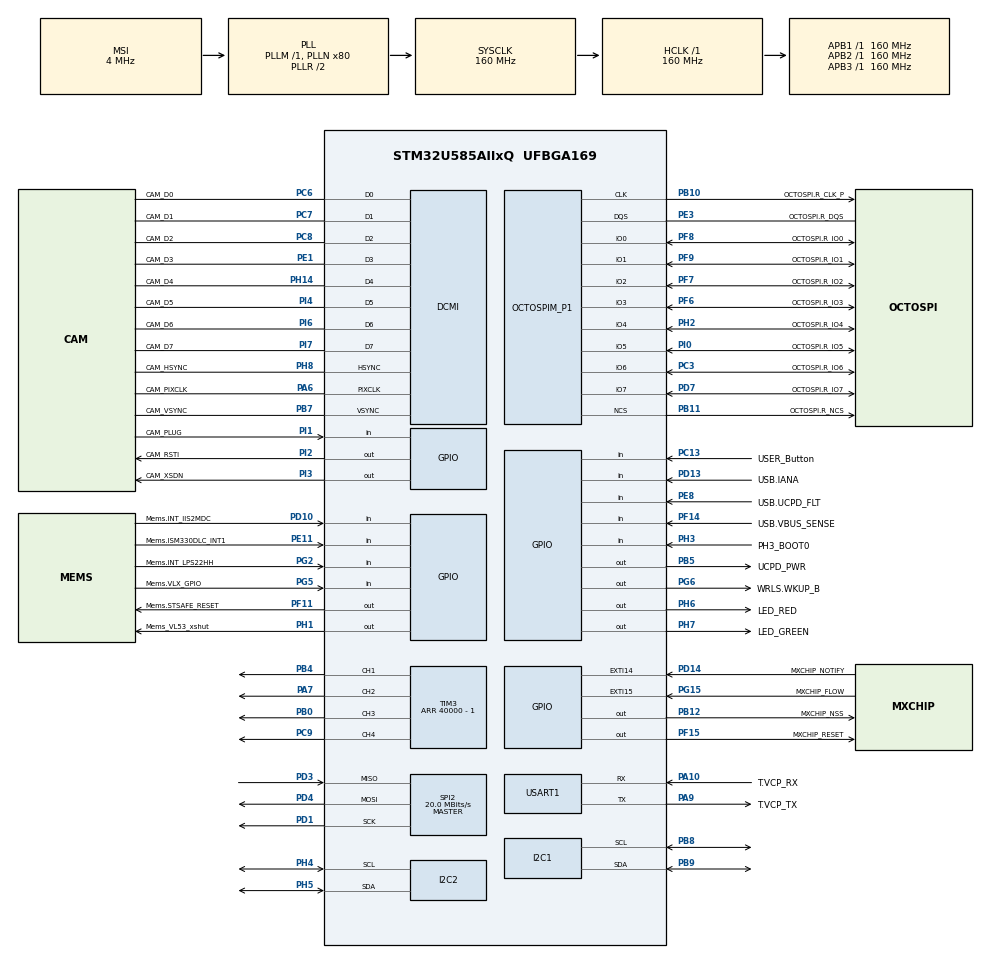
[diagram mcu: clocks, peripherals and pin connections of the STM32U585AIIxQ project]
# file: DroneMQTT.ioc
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CORTEX_M33_NS.userName=CORTEX_M33
DCMI.CaptureRate=DCMI_CR_ALL_FRAME
DCMI.HSPolarity=DCMI_HSPOLARITY_HIGH
DCMI.JPEGMode=DCMI_JPEG_DISABLE
DCMI.PCKPolarity=DCMI_PCKPOLARITY_RISING
DCMI.VSPolarity=DCMI_VSPOLARITY_HIGH
GPDMA1.ChannelPRIV_GPDMACH12=DMA_CHANNEL_PRIV
GPDMA1.ChannelPRIV_GPDMACH6=DMA_CHANNEL_PRIV
GPDMA1.ChannelPRIV_GPDMACH7=DMA_CHANNEL_PRIV
GPDMA1.LINKALLOCATEDPORT_GPDMACH12=DMA_LINK_ALLOCATED_PORT1
GPDMA1.LINKALLOCATEDPORT_GPDMACH6=DMA_LINK_ALLOCATED_PORT1
GPDMA1.LINKALLOCATEDPORT_GPDMACH7=DMA_LINK_ALLOCATED_PORT1
GPDMA1.LINKEDLISTMODE_GPDMACH12=DMA_LINKEDLIST_CIRCULAR
GPDMA1.PRIORITY_LL_GPDMACH6=DMA_LOW_PRIORITY_HIGH_WEIGHT
GPDMA1.PRIORITY_LL_GPDMACH7=DMA_LOW_PRIORITY_HIGH_WEIGHT
I2C1.Timing=0x30909DEC
I2C2.Timing=0x30909DEC
Linkedlist.MDMA_Channel0.GP_SW.0.ADDRESSING2D=DISABLE
Linkedlist.MDMA_Channel0.GP_SW.0.BlkHWRequest=DMA_BREQ_SINGLE_BURST
Linkedlist.MDMA_Channel0.GP_SW.0.DataHandling=NONE
Linkedlist.MDMA_Channel0.GP_SW.0.DataSize=0
Linkedlist.MDMA_Channel0.GP_SW.0.DestBurstLength=1
Linkedlist.MDMA_Channel0.GP_SW.0.DestDataWidth=DMA_DEST_DATAWIDTH_WORD
Linkedlist.MDMA_Channel0.GP_SW.0.DestInc=DMA_DINC_INCREMENTED
Linkedlist.MDMA_Channel0.GP_SW.0.Direction=DMA_PERIPH_TO_MEMORY
Linkedlist.MDMA_Channel0.GP_SW.0.DstAddress=0
Linkedlist.MDMA_Channel0.GP_SW.0.Instance=MDMA_Channel0
Linkedlist.MDMA_Channel0.GP_SW.0.LL_CIRCULARNODE=DCMItoMemory
Linkedlist.MDMA_Channel0.GP_SW.0.LL_MASTERDMA=GPDMA2D
Linkedlist.MDMA_Channel0.GP_SW.0.LL_NAME=ProjectDMAQueue
Linkedlist.MDMA_Channel0.GP_SW.0.LL_TYPE=CIRCULAR
Linkedlist.MDMA_Channel0.GP_SW.0.NODE_NAME=DCMItoMemory
Linkedlist.MDMA_Channel0.GP_SW.0.Requestforcodegen=GPDMA1_REQUEST_DCMI
Linkedlist.MDMA_Channel0.GP_SW.0.SrcAddress=0
Linkedlist.MDMA_Channel0.GP_SW.0.SrcBurstLength=1
Linkedlist.MDMA_Channel0.GP_SW.0.SrcDataWidth=DMA_SRC_DATAWIDTH_WORD
Linkedlist.MDMA_Channel0.GP_SW.0.SrcInc=DMA_SINC_FIXED
Linkedlist.MDMA_Channel0.GP_SW.0.TransferAllocatedPortSrc=DMA_SRC_ALLOCATED_PORT0
Linkedlist.MDMA_Channel0.GP_SW.0.TransferEventMode=DMA_TCEM_BLOCK_TRANSFER
Linkedlist.MDMA_Channel0.GP_SW.0.TriggerPolarity=DMA_TRIG_POLARITY_MASKED
Linkedlist.MDMA_Channel0.Request0=GP_SW
Linkedlist.MDMA_Channel0.RequestsNb=1
Linkedlist.MDMA_Channel1.GP_SW.0.BlkHWRequest=DMA_BREQ_SINGLE_BURST
Linkedlist.MDMA_Channel1.GP_SW.0.DataAlignment=DMA_DATA_RIGHTALIGN_ZEROPADDED
Linkedlist.MDMA_Channel1.GP_SW.0.DataExchange=DMA_EXCHANGE_NONE
Linkedlist.MDMA_Channel1.GP_SW.0.DataHandling=ENABLE
Linkedlist.MDMA_Channel1.GP_SW.0.DataSize=0
Linkedlist.MDMA_Channel1.GP_SW.0.DestBurstLength=1
Linkedlist.MDMA_Channel1.GP_SW.0.DestDataWidth=DMA_DEST_DATAWIDTH_BYTE
Linkedlist.MDMA_Channel1.GP_SW.0.DestInc=DMA_DINC_INCREMENTED
Linkedlist.MDMA_Channel1.GP_SW.0.Direction=DMA_PERIPH_TO_MEMORY
Linkedlist.MDMA_Channel1.GP_SW.0.DstAddress=0
Linkedlist.MDMA_Channel1.GP_SW.0.Instance=MDMA_Channel1
Linkedlist.MDMA_Channel1.GP_SW.0.LL_MASTERDMA=GPDMA
Linkedlist.MDMA_Channel1.GP_SW.0.LL_NAME=SPI_Rx_Queue
Linkedlist.MDMA_Channel1.GP_SW.0.LL_TYPE=LINEAR
Linkedlist.MDMA_Channel1.GP_SW.0.NODE_NAME=SPI_Rx_Node
Linkedlist.MDMA_Channel1.GP_SW.0.Requestforcodegen=GPDMA1_REQUEST_SPI2_RX
Linkedlist.MDMA_Channel1.GP_SW.0.SrcAddress=0
Linkedlist.MDMA_Channel1.GP_SW.0.SrcBurstLength=1
Linkedlist.MDMA_Channel1.GP_SW.0.SrcDataWidth=DMA_SRC_DATAWIDTH_BYTE
Linkedlist.MDMA_Channel1.GP_SW.0.SrcInc=DMA_SINC_FIXED
Linkedlist.MDMA_Channel1.GP_SW.0.TransferAllocatedPortSrc=DMA_SRC_ALLOCATED_PORT0
Linkedlist.MDMA_Channel1.GP_SW.0.TransferEventMode=DMA_TCEM_BLOCK_TRANSFER
Linkedlist.MDMA_Channel1.GP_SW.0.TriggerPolarity=DMA_TRIG_POLARITY_MASKED
Linkedlist.MDMA_Channel1.Request0=GP_SW
Linkedlist.MDMA_Channel1.RequestsNb=1
Linkedlist.MDMA_Channel2.GP_SW.0.BlkHWRequest=DMA_BREQ_SINGLE_BURST
Linkedlist.MDMA_Channel2.GP_SW.0.DataAlignment=DMA_DATA_RIGHTALIGN_ZEROPADDED
Linkedlist.MDMA_Channel2.GP_SW.0.DataExchange=DMA_EXCHANGE_NONE
Linkedlist.MDMA_Channel2.GP_SW.0.DataHandling=ENABLE
Linkedlist.MDMA_Channel2.GP_SW.0.DataSize=0
Linkedlist.MDMA_Channel2.GP_SW.0.DestBurstLength=1
Linkedlist.MDMA_Channel2.GP_SW.0.DestDataWidth=DMA_DEST_DATAWIDTH_BYTE
Linkedlist.MDMA_Channel2.GP_SW.0.DestInc=DMA_DINC_FIXED
Linkedlist.MDMA_Channel2.GP_SW.0.Direction=DMA_MEMORY_TO_PERIPH
Linkedlist.MDMA_Channel2.GP_SW.0.DstAddress=0
Linkedlist.MDMA_Channel2.GP_SW.0.Instance=MDMA_Channel2
Linkedlist.MDMA_Channel2.GP_SW.0.LL_MASTERDMA=GPDMA
Linkedlist.MDMA_Channel2.GP_SW.0.LL_NAME=SPI_Tx_Queue
Linkedlist.MDMA_Channel2.GP_SW.0.LL_TYPE=LINEAR
Linkedlist.MDMA_Channel2.GP_SW.0.NODE_NAME=SPI_Tx_Node
Linkedlist.MDMA_Channel2.GP_SW.0.Requestforcodegen=GPDMA1_REQUEST_SPI2_TX
Linkedlist.MDMA_Channel2.GP_SW.0.SrcAddress=0
Linkedlist.MDMA_Channel2.GP_SW.0.SrcBurstLength=1
Linkedlist.MDMA_Channel2.GP_SW.0.SrcDataWidth=DMA_SRC_DATAWIDTH_BYTE
Linkedlist.MDMA_Channel2.GP_SW.0.SrcInc=DMA_SINC_INCREMENTED
Linkedlist.MDMA_Channel2.GP_SW.0.TransferAllocatedPortSrc=DMA_SRC_ALLOCATED_PORT1
Linkedlist.MDMA_Channel2.GP_SW.0.TransferEventMode=DMA_TCEM_BLOCK_TRANSFER
Linkedlist.MDMA_Channel2.GP_SW.0.TriggerPolarity=DMA_TRIG_POLARITY_MASKED
Linkedlist.MDMA_Channel2.Request0=GP_SW
Linkedlist.MDMA_Channel2.RequestsNb=1
Linkedlist.RequestSet0=MDMA_Channel0
Linkedlist.RequestSet1=MDMA_Channel1
Linkedlist.RequestSet2=MDMA_Channel2
Linkedlist.RequestSetsNb=3
Mcu.Family=STM32U5
Mcu.Name=STM32U585AIIxQ
Mcu.Package=UFBGA169
Mcu.UserConstants=PRES_THREAD_STACK_SIZE,1024;SNTP_STACK_SIZE,(6 * 1024);CAPFRAME_THREAD_STACK_SIZE,1024;LED_STACK_SIZE,1024;TOTAL_APP_STACK_SIZE,TIMEBASE_STACK_SIZE + LED_STACK_SIZE*2 + TEMP_THREAD_STACK_SIZE + HUM_THREAD_STACK_SIZE + MAG_THREAD_STACK_SIZE + LIGHT_THREAD_STACK_SIZE + PRES_THREAD_STACK_SIZE + MOT_THREAD_STACK_SIZE + CAPFRAME_THREAD_STACK_SIZE + SENDFRAME_THREAD_STACK_SIZE + SNTP_STACK_SIZE + MQTT_STACK_SIZE + QUEUE_STACK_SIZE;TIMEBASE_STACK_SIZE,1024;LIGHT_THREAD_STACK_SIZE,1024;MAG_THREAD_STACK_SIZE,1024;MOT_THREAD_STACK_SIZE,2048;MQTT_STACK_SIZE,(4 * 1024);MQTT_CLIENT_STACK_SIZE,(1024 * 10);HUM_THREAD_STACK_SIZE,1024;MXCHIP_SPI,hspi2;SENDFRAME_THREAD_STACK_SIZE,1024;TEMP_THREAD_STACK_SIZE,1024;QUEUE_STACK_SIZE,1024
NETXDUO.NXD_MQTT_REQUIRE_TLS=true
NETXDUO.NX_APP_MEM_POOL_SIZE=1024*100
NETXDUO.NX_DISABLE_ERROR_CHECKING=false
NETXDUO.NX_DRIVER_DEFERRED_PROCESSING=true
NETXDUO.NX_PHYSICAL_HEADER=44
NETXDUO.NX_PHYSICAL_TRAILER=4
NETXDUO.NX_SECURE_ENABLE=true
NETXDUO.NX_SECURE_ENABLE_ECC_CIPHERSUITE=true
NETXDUO.NX_SNTP_CLIENT_MAX_ROOT_DISPERSION=500000
NETXDUO.NX_SNTP_CLIENT_MIN_SERVER_STRATUM=5
NVIC.DCACHE1_IRQn=true\:6\:0\:true\:false\:true\:false\:true\:true\:true
NVIC.DCMI_PSSI_IRQn=true\:12\:0\:true\:false\:true\:false\:true\:true\:true
NVIC.EXTI14_IRQn=true\:10\:0\:true\:false\:true\:false\:true\:true\:true
NVIC.EXTI15_IRQn=true\:10\:0\:true\:false\:true\:false\:true\:true\:true
NVIC.GPDMA1_Channel12_IRQn=true\:12\:0\:true\:false\:true\:false\:true\:true\:true
NVIC.GPDMA1_Channel6_IRQn=true\:9\:0\:true\:false\:true\:false\:true\:true\:true
NVIC.GPDMA1_Channel7_IRQn=true\:9\:0\:true\:false\:true\:false\:true\:true\:true
NVIC.PriorityGroup=NVIC_PRIORITYGROUP_4
NVIC.SPI2_IRQn=true\:8\:0\:true\:false\:true\:false\:true\:true\:true
NVIC.TIM6_IRQn=true\:7\:0\:true\:false\:true\:false\:false\:true\:true
NVIC.TIM7_IRQn=true\:8\:0\:true\:false\:true\:false\:true\:true\:true
NVIC.TimeBase=TIM6_IRQn
NVIC.TimeBaseIP=TIM6
OCTOSPI1.ChipSelectBoundary=10
OCTOSPI1.ChipSelectHighTime=2
OCTOSPI1.ClockPrescaler=2
OCTOSPI1.DelayBlockBypass=HAL_OSPI_DELAY_BLOCK_USED
OCTOSPI1.DelayHoldQuarterCycle=HAL_OSPI_DHQC_ENABLE
OCTOSPI1.DeviceSize=23
OCTOSPI1.MemoryType=HAL_OSPI_MEMTYPE_APMEMORY
OCTOSPI1.Refresh=320
PA10.GPIO_Label=T.VCP_RX
PA10.Mode=Asynchronous
PA10.Signal=USART1_RX
PA11.GPIO_Label=USB.C_P
PA11.Signal=USB_OTG_FS_DM
PA12.GPIO_Label=USB.C_P
PA12.Signal=USB_OTG_FS_DP
PA13\ (JTMS/SWDIO).GPIO_Label=T.SWDIO
PA13\ (JTMS/SWDIO).Signal=DEBUG_JTMS-SWDIO
PA14\ (JTCK/SWCLK).GPIO_Label=T.SWCLK
PA14\ (JTCK/SWCLK).Signal=DEBUG_JTCK-SWCLK
PA15\ (JTDI).GPIO_Label=USB.UCPD_CC1
PA15\ (JTDI).Signal=UCPD1_CC1
PA6.GPIO_Label=CAM_PIXCLK
PA6.GPIO_Speed=GPIO_SPEED_FREQ_VERY_HIGH
PA6.Mode=Slave_8_bits_External_Synchro
PA6.Signal=DCMI_PIXCLK
PA7.Signal=S_TIM3_CH2
PA9.GPIO_Label=T.VCP_TX
PA9.Mode=Asynchronous
PA9.Signal=USART1_TX
PB0.Signal=S_TIM3_CH3
PB1.GPIO_Label=MIC.SDIN0
PB1.Signal=MDF1_SDI0
PB10.GPIO_Label=OCTOSPI.R_CLK_P
PB10.Mode=O1_P1_CLK
PB10.Signal=OCTOSPIM_P1_CLK
PB11.GPIO_Label=OCTOSPI.R_NCS
PB11.Mode=OCTOSPI1_Port1_NCS
PB11.Signal=OCTOSPIM_P1_NCS
PB12.GPIO_Label=MXCHIP_NSS
PB12.GPIO_Speed=GPIO_SPEED_FREQ_HIGH
PB12.PinState=GPIO_PIN_SET
PB12.Signal=GPIO_Output
PB15.GPIO_Label=USB.UCPD_CC2
PB15.Signal=UCPD1_CC2
PB3\ (JTDO/TRACESWO).GPIO_Label=T.SWO
PB3\ (JTDO/TRACESWO).Signal=DEBUG_JTDO-SWO
PB4\ (NJTRST).Signal=S_TIM3_CH1
PB5.GPIO_Label=UCPD_PWR
PB5.Signal=GPIO_Output
PB7.GPIO_Label=CAM_VSYNC
PB7.GPIO_Speed=GPIO_SPEED_FREQ_VERY_HIGH
PB7.Mode=Slave_8_bits_External_Synchro
PB7.Signal=DCMI_VSYNC
PB8.Mode=I2C
PB8.Signal=I2C1_SCL
PB9.Mode=I2C
PB9.Signal=I2C1_SDA
PC10.GPIO_Label=WRLS.UART4_TX
PC10.Signal=UART4_TX
PC11.GPIO_Label=WRLS.UART4_RX
PC11.Signal=UART4_RX
PC13.GPIO_Label=USER_Button
PC13.Signal=GPIO_Input
PC14-OSC32_IN\ (PC14).GPIO_Label=PC14-OSC32_IN
PC14-OSC32_IN\ (PC14).Signal=RCC_OSC32_IN
PC15-OSC32_OUT\ (PC15).GPIO_Label=PC15-OSC32_OUT
PC15-OSC32_OUT\ (PC15).Signal=RCC_OSC32_OUT
PC3.GPIO_Label=OCTOSPI.R_IO6
PC3.Mode=OCTOSPI1_IOH_Port1H
PC3.Signal=OCTOSPIM_P1_IO6
PC6.GPIO_Label=CAM_D0
PC6.GPIO_Speed=GPIO_SPEED_FREQ_VERY_HIGH
PC6.Mode=Slave_8_bits_External_Synchro
PC6.Signal=DCMI_D0
PC7.GPIO_Label=CAM_D1
PC7.GPIO_Speed=GPIO_SPEED_FREQ_VERY_HIGH
PC7.Mode=Slave_8_bits_External_Synchro
PC7.Signal=DCMI_D1
PC8.GPIO_Label=CAM_D2
PC8.GPIO_Speed=GPIO_SPEED_FREQ_VERY_HIGH
PC8.Mode=Slave_8_bits_External_Synchro
PC8.Signal=DCMI_D2
PC9.Signal=S_TIM3_CH4
PD1.Mode=Full_Duplex_Master
PD1.Signal=SPI2_SCK
PD10.GPIO_Label=Mems.INT_IIS2MDC
PD10.Signal=GPIO_Input
PD13.GPIO_Label=USB.IANA
PD13.Signal=GPIO_Input
PD14.GPIO_Label=MXCHIP_NOTIFY
PD14.Signal=GPXTI14
PD3.Mode=Full_Duplex_Master
PD3.Signal=SPI2_MISO
PD4.Mode=Full_Duplex_Master
PD4.Signal=SPI2_MOSI
PD7.GPIO_Label=OCTOSPI.R_IO7
PD7.Mode=OCTOSPI1_IOH_Port1H
PD7.Signal=OCTOSPIM_P1_IO7
PE1.GPIO_Label=CAM_D3
PE1.GPIO_Speed=GPIO_SPEED_FREQ_VERY_HIGH
PE1.Mode=Slave_8_bits_External_Synchro
PE1.Signal=DCMI_D3
PE10.GPIO_Label=MIC.SDINx
PE10.Signal=ADF1_SDI0
PE11.GPIO_Label=Mems.ISM330DLC_INT1
PE11.Signal=GPIO_Input
PE3.GPIO_Label=OCTOSPI.R_DQS
PE3.Mode=OCTOSPI1_Port1_DQS
PE3.Signal=OCTOSPIM_P1_DQS
PE8.GPIO_Label=USB.UCPD_FLT
PE8.Signal=GPIO_Input
PE9.GPIO_Label=MIC.CCK0
PE9.Signal=ADF1_CCK0
PF0.GPIO_Label=OCTOSPI.F_IO0
PF0.Signal=OCTOSPIM_P2_IO0
PF1.GPIO_Label=OCTOSPI.F_IO1
PF1.Signal=OCTOSPIM_P2_IO1
PF10.GPIO_Label=MIC.CCK1
PF10.Signal=MDF1_CCK1
PF11.GPIO_Label=Mems.STSAFE_RESET
PF11.Signal=GPIO_Output
PF12.GPIO_Label=OCTOSPI.F_DQS
PF12.Signal=OCTOSPIM_P2_DQS
PF14.GPIO_Label=USB.VBUS_SENSE
PF14.Signal=GPIO_Input
PF15.GPIO_Label=MXCHIP_RESET
PF15.GPIO_Speed=GPIO_SPEED_FREQ_HIGH
PF15.Signal=GPIO_Output
PF2.GPIO_Label=OCTOSPI.F_IO2
PF2.Signal=OCTOSPIM_P2_IO2
PF3.GPIO_Label=OCTOSPI.F_IO3
PF3.Signal=OCTOSPIM_P2_IO3
PF4.GPIO_Label=OCTOSPI.F_CLK_P
PF4.Signal=OCTOSPIM_P2_CLK
PF6.GPIO_Label=OCTOSPI.R_IO3
PF6.Mode=OCTOSPI1_IOL_Port1L
PF6.Signal=OCTOSPIM_P1_IO3
PF7.GPIO_Label=OCTOSPI.R_IO2
PF7.Mode=OCTOSPI1_IOL_Port1L
PF7.Signal=OCTOSPIM_P1_IO2
PF8.GPIO_Label=OCTOSPI.R_IO0
PF8.Mode=OCTOSPI1_IOL_Port1L
PF8.Signal=OCTOSPIM_P1_IO0
PF9.GPIO_Label=OCTOSPI.R_IO1
PF9.Mode=OCTOSPI1_IOL_Port1L
PF9.Signal=OCTOSPIM_P1_IO1
PG15.GPIO_Label=MXCHIP_FLOW
PG15.Signal=GPXTI15
PG2.GPIO_Label=Mems.INT_LPS22HH
PG2.Signal=GPIO_Input
PG5.GPIO_Label=Mems.VLX_GPIO
PG5.Signal=GPIO_Input
PG6.GPIO_Label=WRLS.WKUP_B
PG6.Signal=GPIO_Output
PH1-OSC_OUT\ (PH1).GPIO_Label=Mems_VL53_xshut
PH1-OSC_OUT\ (PH1).Signal=GPIO_Output
PH10.GPIO_Label=OCTOSPI.F_IO5
PH10.Signal=OCTOSPIM_P2_IO5
PH11.GPIO_Label=OCTOSPI.F_IO6
PH11.Signal=OCTOSPIM_P2_IO6
PH12.GPIO_Label=OCTOSPI.F_IO7
PH12.Signal=OCTOSPIM_P2_IO7
PH14.GPIO_Label=CAM_D4
PH14.GPIO_Speed=GPIO_SPEED_FREQ_VERY_HIGH
PH14.Mode=Slave_8_bits_External_Synchro
PH14.Signal=DCMI_D4
PH2.GPIO_Label=OCTOSPI.R_IO4
PH2.Mode=OCTOSPI1_IOH_Port1H
PH2.Signal=OCTOSPIM_P1_IO4
PH3-BOOT0.GPIO_Label=PH3_BOOT0
PH3-BOOT0.Signal=GPIO_Input
PH4.Mode=I2C
PH4.Signal=I2C2_SCL
PH5.Mode=I2C
PH5.Signal=I2C2_SDA
PH6.GPIO_Label=LED_RED
PH6.Signal=GPIO_Output
PH7.GPIO_Label=LED_GREEN
PH7.Signal=GPIO_Output
PH8.GPIO_Label=CAM_HSYNC
PH8.GPIO_Speed=GPIO_SPEED_FREQ_VERY_HIGH
PH8.Mode=Slave_8_bits_External_Synchro
PH8.Signal=DCMI_HSYNC
PH9.GPIO_Label=OCTOSPI.F_IO4
PH9.Signal=OCTOSPIM_P2_IO4
PI0.GPIO_Label=OCTOSPI.R_IO5
PI0.Mode=OCTOSPI1_IOH_Port1H
PI0.Signal=OCTOSPIM_P1_IO5
PI1.GPIO_Label=CAM_PLUG
PI1.GPIO_PuPd=GPIO_PULLUP
PI1.Signal=GPIO_Input
PI2.GPIO_Label=CAM_RSTI
PI2.GPIO_PuPd=GPIO_PULLUP
PI2.PinState=GPIO_PIN_SET
PI2.Signal=GPIO_Output
PI3.GPIO_Label=CAM_XSDN
PI3.GPIO_PuPd=GPIO_PULLDOWN
PI3.Signal=GPIO_Output
PI4.GPIO_Label=CAM_D5
PI4.GPIO_Speed=GPIO_SPEED_FREQ_VERY_HIGH
PI4.Mode=Slave_8_bits_External_Synchro
PI4.Signal=DCMI_D5
PI5.GPIO_Label=OCTOSPI.F_NCS
PI5.Signal=OCTOSPIM_P2_NCS
PI6.GPIO_Label=CAM_D6
PI6.GPIO_Speed=GPIO_SPEED_FREQ_VERY_HIGH
PI6.Mode=Slave_8_bits_External_Synchro
PI6.Signal=DCMI_D6
PI7.GPIO_Label=CAM_D7
PI7.GPIO_Speed=GPIO_SPEED_FREQ_VERY_HIGH
PI7.Mode=Slave_8_bits_External_Synchro
PI7.Signal=DCMI_D7
PWR.PowerMode=PWR_SMPS_SUPPLY
ProjectManager.HeapSize=0x200
ProjectManager.StackSize=0x400
ProjectManager.TargetToolchain=STM32CubeIDE
RCC.ADCFreq_Value=16000000
RCC.AHBFreq_Value=160000000
RCC.APB1Freq_Value=160000000
RCC.APB1TimFreq_Value=160000000
RCC.APB2Freq_Value=160000000
RCC.APB2TimFreq_Value=160000000
RCC.APB3Freq_Value=160000000
RCC.CortexFreq_Value=160000000
RCC.DACCLockSelectionVirtual=RCC_DAC1CLKSOURCE_LSI
RCC.DACCLockSelectionVirtualString=RCC_DAC1CLKSOURCE_LSI
RCC.EPOD_VALUE=4000000
RCC.HCLKFreq_Value=160000000
RCC.HSE_VALUE=16000000
RCC.HSI48_VALUE=48000000
RCC.HSI_VALUE=16000000
RCC.LSE_VALUE=32768
RCC.LSIDIV_VALUE=32000
RCC.MSI_VALUE=4000000
RCC.PLLN=80
RCC.SYSCLKFreq_VALUE=160000000
RCC.SYSCLKSource=RCC_SYSCLKSOURCE_PLLCLK
RCC.USBFreq_Value=48000000
RCC.VCOOutputFreq_Value=320000000
SH.S_TIM3_CH1.0=TIM3_CH1,PWM Generation1 CH1
SH.S_TIM3_CH2.0=TIM3_CH2,PWM Generation2 CH2
SH.S_TIM3_CH3.0=TIM3_CH3,PWM Generation3 CH3
SH.S_TIM3_CH4.0=TIM3_CH4,PWM Generation4 CH4
SPI2.BaudRatePrescaler=SPI_BAUDRATEPRESCALER_8
SPI2.CalculateBaudRate=20.0 MBits/s
SPI2.DataSize=SPI_DATASIZE_8BIT
SPI2.Direction=SPI_DIRECTION_2LINES
SPI2.Mode=SPI_MODE_MASTER
SPI2.VirtualType=VM_MASTER
THREADX.TX_APP_MEM_POOL_SIZE=TOTAL_APP_STACK_SIZE
THREADX.TX_DISABLE_NOTIFY_CALLBACKS=0
TIM3.Channel-PWM\ Generation1\ CH1=TIM_CHANNEL_1
TIM3.Channel-PWM\ Generation2\ CH2=TIM_CHANNEL_2
TIM3.Channel-PWM\ Generation3\ CH3=TIM_CHANNEL_3
TIM3.Channel-PWM\ Generation4\ CH4=TIM_CHANNEL_4
TIM3.PeriodNoDither=40000 - 1
TIM7.PeriodNoDither=52
TIM7.Prescaler=58053
USART1.VirtualMode-Asynchronous=VM_ASYNC
VP_CORDIC_VS_CORDIC.Mode=CORDIC_Activate
VP_DCACHE1_VS_DCACHE.Mode=DCACHE_Activate
VP_GPDMA1_VS_GPDMACH12.Mode=LINKEDLIST_GPDMACH12
VP_GPDMA1_VS_GPDMACH6.Mode=LINKEDLIST_GPDMACH6
VP_GPDMA1_VS_GPDMACH7.Mode=LINKEDLIST_GPDMACH7
VP_ICACHE_VS_ICACHE.Mode=DefaultMode
VP_LPBAMQUEUE_VS_QUEUE.Mode=QUEUEMODE
VP_LPBAM_VS_SIG1.Mode=SmartRun
VP_LPBAM_VS_SIG4.Mode=LPDMA1
VP_NETXDUO_VS_AddonsOoDHCP.Mode=Addons_DHCP_Client
VP_NETXDUO_VS_AddonsOoDNS.Mode=Addons_DNS
VP_NETXDUO_VS_AddonsOoMQTT.Mode=Addons_MQTT
VP_NETXDUO_VS_AddonsOoSNTP.Mode=Addons_SNTP
VP_NETXDUO_VS_Crypto.Mode=Crypto
VP_NETXDUO_VS_CustomOoInterface.Mode=Custom_Interface
VP_NETXDUO_VS_NXOoCore.Mode=NX_Core
VP_NETXDUO_VS_TLS.Mode=TLS
VP_OCTOSPI1_VS_octo.Mode=octo_mode
VP_PWR_VS_LPOM.Mode=PowerOptimisation
VP_PWR_VS_SECSignals.Mode=Security/Privilege
VP_SYS_VS_tim6.Mode=TIM6
VP_THREADX_VS_RTOSJjThreadXJjCoreJjDefault.Mode=Core_Default
VP_TIM3_VS_ClockSourceINT.Mode=Internal
VP_TIM7_VS_ClockSourceINT.Mode=Enable_Timer
board=B-U585I-IOT02A

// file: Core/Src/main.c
/* USER CODE BEGIN Header */
/**
  ******************************************************************************
  * @file           : main.c
  * @brief          : Main program body
  ******************************************************************************
  * @attention
  *
  * Copyright (c) 2022 STMicroelectronics.
  * All rights reserved.
  *
  * This software is licensed under terms that can be found in the LICENSE file
  * in the root directory of this software component.
  * If no LICENSE file comes with this software, it is provided AS-IS.
  *
  ******************************************************************************
  */
/* USER CODE END Header */
#include "main.h"
#include "app_threadx.h"
#include "cordic.h"
#include "dcache.h"
#include "dcmi.h"
#include "gpdma.h"
#include "i2c.h"
#include "icache.h"
#include "octospi.h"
#include "spi.h"
#include "tim.h"
#include "usart.h"
#include "gpio.h"

/* USER CODE BEGIN Includes */
#include "BSP_ram.h"
#include "BSP_camera.h"
#include "BSP_environment.h"
#include "BSP_motion.h"
#include "BSP_LED.h"
#include "BSP_MotorControl.h"
#include <stdio.h>
/* USER CODE END Includes */

void SystemClock_Config(void);
static void SystemPower_Config(void);

int main(void)
{

  /* MCU Configuration--------------------------------------------------------*/

  /* Reset of all peripherals, Initializes the Flash interface and the Systick. */
  HAL_Init();

  /* Configure the system clock */
  SystemClock_Config();

  /* Configure the System Power */
  SystemPower_Config();

  /* USER CODE BEGIN SysInit */
  __HAL_RCC_PWR_CLK_ENABLE();
  HAL_PWREx_EnableVddA();
  /* USER CODE END SysInit */

  /* Initialize all configured peripherals */
  MX_GPIO_Init();
  MX_GPDMA1_Init();
  MX_DCMI_Init();
  MX_OCTOSPI1_Init();
  MX_ICACHE_Init();
  MX_DCACHE1_Init();
  MX_I2C1_Init();
  MX_I2C2_Init();
  MX_CORDIC_Init();
  MX_USART1_UART_Init();
  MX_TIM7_Init();
  MX_SPI2_Init();
  MX_TIM3_Init();
  /* USER CODE BEGIN 2 */
  printf("\r\nSystem Starting\r\n");
  BSP_TempHumSensorInit();
  BSP_MagnetometerInit();
  BSP_MotionSensorInit();
  BSP_PressureSensorInit();
  BSP_AmbientLightInit();
  BSP_RamInit();
  BSP_CameraInit();
  BSP_MotorInit();
  printf("System Initialized\r\n");
  /* USER CODE END 2 */

  MX_ThreadX_Init();

  /* We should never get here as control is now taken by the scheduler */
  /* Infinite loop */
  while (1)
  {

  }
}

void SystemClock_Config(void)
{
  RCC_OscInitTypeDef RCC_OscInitStruct = {0};
  RCC_ClkInitTypeDef RCC_ClkInitStruct = {0};

  /** Configure the main internal regulator output voltage
  */
  if (HAL_PWREx_ControlVoltageScaling(PWR_REGULATOR_VOLTAGE_SCALE1) != HAL_OK)
  {
    Error_Handler();
  }

  /** Initializes the CPU, AHB and APB buses clocks
  */
  RCC_OscInitStruct.OscillatorType = RCC_OSCILLATORTYPE_MSI;
  RCC_OscInitStruct.MSIState = RCC_MSI_ON;
  RCC_OscInitStruct.MSICalibrationValue = RCC_MSICALIBRATION_DEFAULT;
  RCC_OscInitStruct.MSIClockRange = RCC_MSIRANGE_4;
  RCC_OscInitStruct.PLL.PLLState = RCC_PLL_ON;
  RCC_OscInitStruct.PLL.PLLSource = RCC_PLLSOURCE_MSI;
  RCC_OscInitStruct.PLL.PLLMBOOST = RCC_PLLMBOOST_DIV1;
  RCC_OscInitStruct.PLL.PLLM = 1;
  RCC_OscInitStruct.PLL.PLLN = 80;
  RCC_OscInitStruct.PLL.PLLP = 2;
  RCC_OscInitStruct.PLL.PLLQ = 2;
  RCC_OscInitStruct.PLL.PLLR = 2;
  RCC_OscInitStruct.PLL.PLLRGE = RCC_PLLVCIRANGE_0;
  RCC_OscInitStruct.PLL.PLLFRACN = 0;
  if (HAL_RCC_OscConfig(&RCC_OscInitStruct) != HAL_OK)
  {
    Error_Handler();
  }

  /** Initializes the CPU, AHB and APB buses clocks
  */
  RCC_ClkInitStruct.ClockType = RCC_CLOCKTYPE_HCLK|RCC_CLOCKTYPE_SYSCLK
                              |RCC_CLOCKTYPE_PCLK1|RCC_CLOCKTYPE_PCLK2
                              |RCC_CLOCKTYPE_PCLK3;
  RCC_ClkInitStruct.SYSCLKSource = RCC_SYSCLKSOURCE_PLLCLK;
  RCC_ClkInitStruct.AHBCLKDivider = RCC_SYSCLK_DIV1;
  RCC_ClkInitStruct.APB1CLKDivider = RCC_HCLK_DIV1;
  RCC_ClkInitStruct.APB2CLKDivider = RCC_HCLK_DIV1;
  RCC_ClkInitStruct.APB3CLKDivider = RCC_HCLK_DIV1;

  if (HAL_RCC_ClockConfig(&RCC_ClkInitStruct, FLASH_LATENCY_4) != HAL_OK)
  {
    Error_Handler();
  }
}

/**
  * @brief Power Configuration
  * @retval None
  */
static void SystemPower_Config(void)
{
  HAL_PWREx_EnableVddIO2();

  /*
   * Switch to SMPS regulator instead of LDO
   */
  if (HAL_PWREx_ConfigSupply(PWR_SMPS_SUPPLY) != HAL_OK)
  {
    Error_Handler();
  }
}

/* USER CODE BEGIN 4 */
int __io_putchar(int ch)
{
  /* Place your implementation of fputc here */
  /* e.g. write a character to the USART1 and Loop until the end of transmission */
  HAL_UART_Transmit(&huart1, (uint8_t *)&ch, 1, 0xFFFF);
  return ch;
}
/* USER CODE END 4 */

void HAL_TIM_PeriodElapsedCallback(TIM_HandleTypeDef *htim)
{
  if (htim->Instance == TIM6) {
    HAL_IncTick();
  }
}

void Error_Handler(void)
{
  __disable_irq();
  while (1)
  {
  }
}
